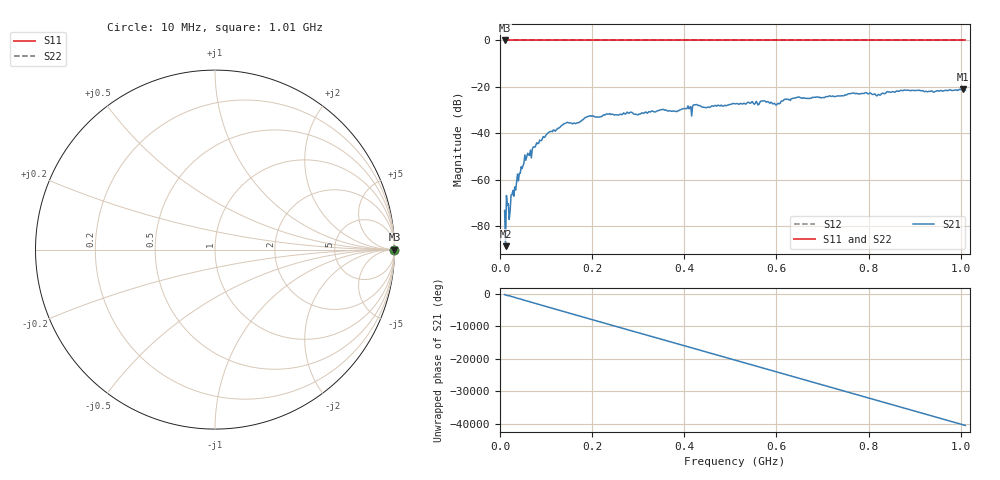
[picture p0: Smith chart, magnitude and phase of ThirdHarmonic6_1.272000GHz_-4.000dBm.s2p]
! 8/16/2025 1:45:53 PM
! C:\ANRITSUVNA\TEMP\TEMP.S2P
! CHANNEL.1
! TR.MEASUREMENT
! RAW.DATA
! RF.CORRECTION.OFF
! AVERAGING.OFF
! IF.BANDWIDTH: 5KHZ
! SWEEPTYPE:  FREQ.SWEEP(Linear)
! Reference Plane Port Info
! PORT:  PORT1  PORT2
! DISTANCE:  0  m  0  m
! TIME:  0  s  0  s
! PHASE.OFFSET:  0  deg.  0  deg.
! LOSS:  0  dB  0  dB
! REF.LOSS:  0  dB  0  dB
! REF.FREQ:  0  Hz  0  Hz
! Power Info
! POWER:  -20  dBm  -20  dBm
! EFF.POWER:  -20  dBm  -20  dBm
! SOURCE.ATTEN:  0  dB  0  dB
! TEST.ATTEN:  0  dB  0  dB
# GHZ S RI R 50.0
! FREQ.GHZ  S11RE  S11IM  S21RE  S21IM  S12RE  S12IM  S22RE  S22IM
!; PortSelection: Port_12
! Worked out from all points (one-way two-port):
!   501 points, 10 MHz to 1.01 GHz, reference 50 ohm
!   highest |S21| = -21.00 dB at 1.004 GHz (marker M1); lowest = -88.7 dB at 12 MHz (marker M2)
!   lowest |S11| = 0.0 dB at 10 MHz (marker M3)
!   |S11| at or under -10 dB: nowhere
!   |S22| runs from 0.0 to 0.0 dB; largest |S21 - S12| = 1.1
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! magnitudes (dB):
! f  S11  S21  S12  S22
! 10 MHz  0.0  -73.3  0.0  0.0
! 12 MHz  0.0  -88.7  0.0  0.0
! 22 MHz  0.0  -73.6  0.0  0.0
! 28 MHz  0.0  -64.6  0.0  0.0
! 56 MHz  0.0  -51.6  0.0  0.0
! 76 MHz  0.0  -46.0  0.0  0.0
! 104 MHz  0.0  -39.9  0.0  0.0
! 142 MHz  0.0  -35.7  0.0  0.0
! 178 MHz  0.0  -34.3  0.0  0.0
! 194 MHz  0.0  -32.6  0.0  0.0
! 344 MHz  0.0  -30.3  0.0  0.0
! 384 MHz  0.0  -30.7  0.0  0.0
! 424 MHz  0.0  -27.8  0.0  0.0
! 446 MHz  0.0  -28.9  0.0  0.0
! 510 MHz  0.0  -27.3  0.0  0.0
! 570 MHz  0.0  -26.1  0.0  0.0
! 602 MHz  0.0  -27.3  0.0  0.0
! 620 MHz  0.0  -25.3  0.0  0.0
! 678 MHz  0.0  -24.5  0.0  0.0
! 844 MHz  0.0  -22.2  0.0  0.0
! 1.004 GHz  0.0  -21.0  0.0  0.0
! 1.01 GHz  0.0  -21.5  0.0  0.0
